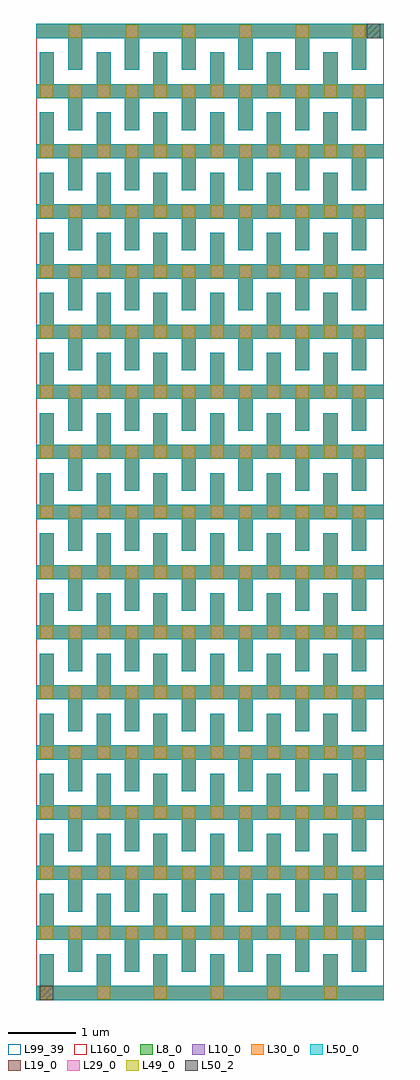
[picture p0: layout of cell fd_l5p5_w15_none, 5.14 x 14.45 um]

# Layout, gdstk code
import gdstk
lib = gdstk.Library(unit=1e-6, precision=1e-09)
def R(c, l, rs):  # rectangles x0, y0, x1, y1
    for r in rs: c.add(gdstk.rectangle(r[:2], r[2:], *l))
def A(c, l, x, y, w, h, nx, ny, dx, dy):  # array of equal rectangles
    R(c, l, [(x+i*dx, y+j*dy, x+i*dx+w, y+j*dy+h) for i in range(nx) for j in range(ny)])
L8_0 = (8, 0)
L10_0 = (10, 0)
L19_0 = (19, 0)
L29_0 = (29, 0)
L30_0 = (30, 0)
L49_0 = (49, 0)
L50_0 = (50, 0)
L50_2 = (50, 2)
L99_39 = (99, 39)
L160_0 = (160, 0)

fd_l5p5_w15_none = lib.new_cell('fd_l5p5_w15_none')
A(fd_l5p5_w15_none, L8_0, -0.05, -0.105, 5.14, 0.21, 1, 17, 0, 0.89)
A(fd_l5p5_w15_none, L8_0, 0, 0, 0.21, 0.575, 6, 16, 0.84, 0.89)
A(fd_l5p5_w15_none, L8_0, 0.42, 0.315, 0.21, 0.575, 6, 16, 0.84, 0.89)
A(fd_l5p5_w15_none, L10_0, -0.05, -0.105, 5.14, 0.21, 1, 17, 0, 0.89)
A(fd_l5p5_w15_none, L10_0, 0, 0, 0.21, 0.575, 6, 16, 0.84, 0.89)
A(fd_l5p5_w15_none, L10_0, 0.42, 0.315, 0.21, 0.575, 6, 16, 0.84, 0.89)
A(fd_l5p5_w15_none, L19_0, 0.01, -0.095, 0.19, 0.19, 6, 1, 0.84, 0)
A(fd_l5p5_w15_none, L19_0, 0.01, 0.795, 0.19, 0.19, 12, 15, 0.42, 0.89)
A(fd_l5p5_w15_none, L19_0, 0.43, 14.145, 0.19, 0.19, 6, 1, 0.84, 0)
A(fd_l5p5_w15_none, L29_0, 0.01, -0.095, 0.19, 0.19, 6, 1, 0.84, 0)
A(fd_l5p5_w15_none, L29_0, 0.01, 0.795, 0.19, 0.19, 12, 15, 0.42, 0.89)
A(fd_l5p5_w15_none, L29_0, 0.43, 14.145, 0.19, 0.19, 6, 1, 0.84, 0)
A(fd_l5p5_w15_none, L30_0, -0.05, -0.105, 5.14, 0.21, 1, 17, 0, 0.89)
A(fd_l5p5_w15_none, L30_0, 0, 0, 0.21, 0.575, 6, 16, 0.84, 0.89)
A(fd_l5p5_w15_none, L30_0, 0.42, 0.315, 0.21, 0.575, 6, 16, 0.84, 0.89)
A(fd_l5p5_w15_none, L49_0, 0.01, -0.095, 0.19, 0.19, 6, 1, 0.84, 0)
A(fd_l5p5_w15_none, L49_0, 0.01, 0.795, 0.19, 0.19, 12, 15, 0.42, 0.89)
A(fd_l5p5_w15_none, L49_0, 0.43, 14.145, 0.19, 0.19, 6, 1, 0.84, 0)
A(fd_l5p5_w15_none, L50_0, -0.05, -0.105, 5.14, 0.21, 1, 17, 0, 0.89)
A(fd_l5p5_w15_none, L50_0, 0, 0, 0.21, 0.575, 6, 16, 0.84, 0.89)
A(fd_l5p5_w15_none, L50_0, 0.42, 0.315, 0.21, 0.575, 6, 16, 0.84, 0.89)
R(fd_l5p5_w15_none, L50_2, [(0,-0.105,0.2,0.105), (4.84,14.135,5.04,14.345)])
R(fd_l5p5_w15_none, L99_39, [(-0.05,0,5.09,14.24)])
R(fd_l5p5_w15_none, L160_0, [(-0.05,0,5.09,14.24)])
fd_l5p5_w15_none.add(gdstk.Label('cap_cmomi C=78.229fF', (-0.05,-0.5), layer=63, texttype=0))

lib.write_gds('fd_l5p5_w15_none.gds')
